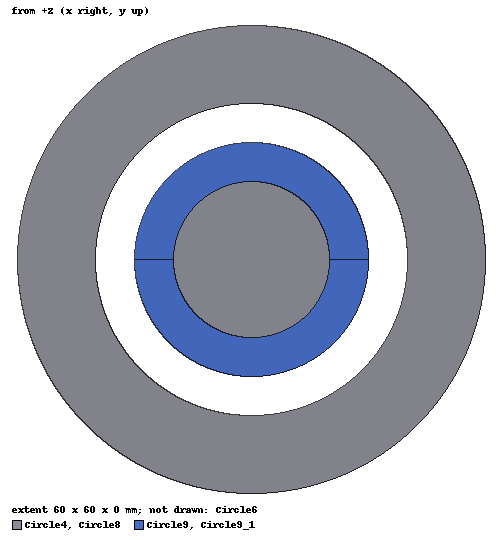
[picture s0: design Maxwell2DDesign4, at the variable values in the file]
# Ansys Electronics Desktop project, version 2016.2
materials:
  vacuum: permittivity=1
  copper: permeability=0.999991 conductivity=58000000
  nickel: permeability=600 conductivity=14500000
  NdFe31: CoordinateSystemType=Cylindrical permittivity=1 permeability=1.044573 conductivity=625000 magnetic_coercivity{Magnitude=-914181.82A_per_meter DirComp1=-1 DirComp2=0 DirComp3=0} lande_g_factor=2
  iron: permeability=4000 conductivity=10300000
  NdFe32: permittivity=1 permeability=1.044573 conductivity=625000 magnetic_coercivity{Magnitude=-914181.82A_per_meter DirComp1=1 DirComp2=0 DirComp3=0} lande_g_factor=2
  Material1
  NdFe33: CoordinateSystemType=Cylindrical permittivity=1 permeability=1.044573 conductivity=625000 magnetic_coercivity{Magnitude=-914181.82A_per_meter DirComp1=1 DirComp2=0 DirComp3=0} lande_g_factor=2

design Maxwell2DDesign4 (Maxwell 2D, Magnetostatic, XY geometry, model units mm)
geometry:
  Circle3 = circle(normal=Z, centre=(40mm, 30mm, 0mm), radius=20mm)
  Circle4 [iron] = circle(normal=Z, centre=(40mm, 30mm, 0mm), radius=30mm)
  Circle4.subtract(Circle3)
  Circle6 [vacuum] = circle(normal=Z, centre=(40mm, 30mm, 0mm), radius=80mm)
  [Circle4, Circle6].move(-40mm, -30mm, 0mm)
  [Circle4, Circle6].move(260mm, 160mm, 0mm)
  Circle8 [iron] = circle(normal=Z, centre=(260mm, 160mm, 0mm), radius=10mm)
  [Circle4, Circle6, Circle8].move(-260mm, -160mm, 0mm)
  [Circle4, Circle6, Circle8].move(200mm, 100mm, 0mm)
  [Circle4, Circle6, Circle8].move(-200mm, -100mm, 0mm)
  [Circle4, Circle6, Circle8].move(200mm, 200mm, 0mm)
  Polyline1 = polyline(z=0mm, xy in mm: (218, 200) (182.00693, 199.50058) (217.97229, 200.99846), AngularArc from point 0 over 3 centre=(200mm, 200mm, 0mm) angle=-356.82017deg plane=XY)
  Circle9 [NdFe33] = circle(normal=Z, centre=(325mm, 225mm, 0mm), radius=15mm)
  Circle10 = circle(normal=Z, centre=(325mm, 225mm, 0mm), radius=10mm)
  Circle9.subtract(Circle10)
  Rectangle1 = rectangle(corner=(305mm, 225mm, 0mm), x_size=42mm, y_size=-16mm)
  Circle9.subtract(Rectangle1)
  Circle9.move(-125mm, -25mm, 0mm)
  Circle9_1 [NdFe31] = Circle9.duplicate_mirror(point=(200mm, 200mm, 0mm), normal=(0mm, -1mm, 0mm))
  [Circle4, Circle6, Circle8, Polyline1, Circle9, Circle9_1].move(-200mm, -200mm, 0mm)
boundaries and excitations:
  Balloon1: Balloon Edges=Circle6.edge(1 of 1)
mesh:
  initial mesh: MeshMethod=AnsoftClassic
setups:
  Setup1: Magnetostatic MaximumPasses=10 MinimumPasses=2 MinimumConvergedPasses=1 PercentRefinement=30 PercentError=1 NonLinearResidual=0.0001
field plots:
  B_Vector1: B over Circle4, Circle8, Circle9, Circle6 on Setup1 : LastAdaptive
  Mag_B2: B over Circle4, Circle8, Circle9_1, Circle9, Circle6 on Setup1 : LastAdaptive
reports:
  XY Plot 1: Mag_B vs Distance on Setup1 : LastAdaptive
